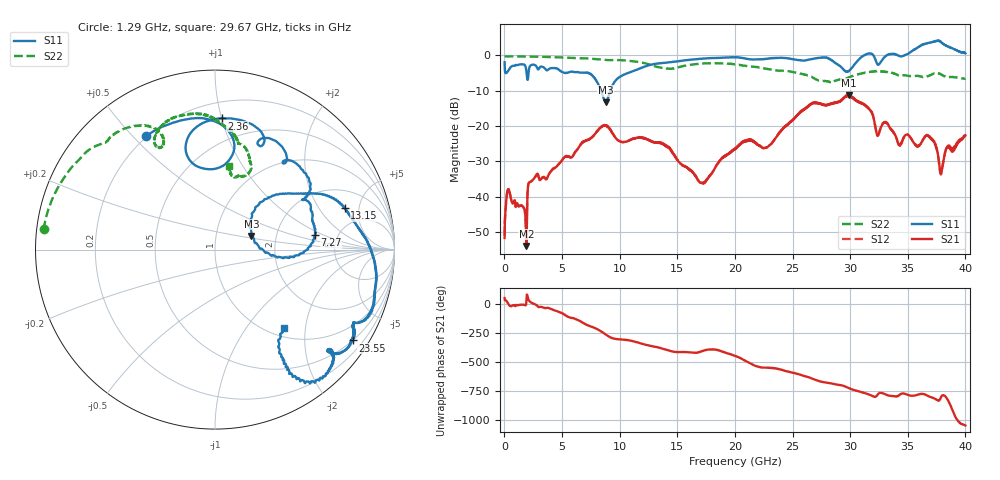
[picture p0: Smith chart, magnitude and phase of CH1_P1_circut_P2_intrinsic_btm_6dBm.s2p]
!Keysight Technologies,N5222B,MY61257109,A.17.25.03
!Date: Wednesday, July 22, 2026 17:31:34
!Correction: S11(C  2-Port  )
!S21(C  2-Port  )
!S12(C  2-Port  )
!S22(C  2-Port  )
!S2P File: Measurements: S11, S21, S12, S22:
# Hz S  dB  R 50
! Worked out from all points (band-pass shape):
!   4000 points, 10 MHz to 40 GHz, reference 50 ohm
!   highest |S21| = -11.29 dB at 29.88 GHz (marker M1); lowest = -53.9 dB at 1.9 GHz (marker M2)
!   |S21| within 3 dB of the highest: 26.38 GHz to 31.37 GHz (4.982 GHz wide, 17.3 % of centre)
!   lowest |S11| = -13.3 dB at 8.8 GHz (marker M3), VSWR 1.55, Z = 74.4 + j11.9 ohm
!   |S11| at or under -10 dB: 8.378 GHz to 9.187 GHz (809 MHz wide, 9.21 % of centre)
!   |S22| runs from -7.6 to -0.3 dB; largest |S21 - S12| = 0.0091
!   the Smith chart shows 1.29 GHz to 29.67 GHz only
!   S11 on the Smith chart (normalised r, x): 1.29 GHz: 0.20, +0.55; 2.36 GHz: 0.32, +1.00; 7.27 GHz: 3.36, +0.78; 13.15 GHz: 3.23, +3.54; 23.55 GHz: 0.50, -3.26; 29.67 GHz: 1.17, -1.53
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1e7  -1.97 -53.1  -51.59 55.2  -50.97 54.3  -0.35 179.8
3.2e8  -4.41 180.0  -37.89 6.1  -37.88 5.7  -0.34 178.4
1.29e9  -2.62 121.3  -42.51 -3.1  -42.50 -3.2  -0.35 173.3
1.9e9  -4.49 79.6  -53.89 31.0  -53.90 50.3  -0.37 170.0
2.36e9  -2.71 87.1  -35.52 13.6  -35.48 13.5  -0.39 167.6
4.44e9  -3.66 38.5  -31.64 -55.0  -31.62 -54.9  -0.57 156.9
6.68e9  -4.95 16.8  -24.96 -152.1  -24.78 -150.9  -0.86 145.7
7.27e9  -5.02 8.1  -23.91 177.0  -23.89 176.9  -0.92 142.6
8.8e9  -13.27 20.6  -19.75 98.9  -19.88 98.3  -1.36 135.8
1.315e10  -2.40 17.9  -24.59 -8.1  -24.66 -8.8  -3.19 115.0
1.334e10  -2.31 16.4  -24.59 -12.0  -24.69 -12.8  -3.34 115.1
1.715e10  -0.96 -5.2  -36.07 -44.9  -35.98 -43.7  -2.35 110.4
2.001e10  -0.60 -21.5  -26.55 -86.9  -26.44 -85.4  -2.58 92.5
2.355e10  -0.74 -33.5  -23.22 166.3  -23.28 165.2  -4.30 77.9
2.667e10  -1.11 -41.9  -13.73 78.4  -13.53 78.7  -6.14 65.8
2.967e10  -4.73 -48.4  -11.35 4.8  -11.62 4.5  -6.49 80.8
2.988e10  -4.53 -40.5  -11.29 -5.1  -11.55 -5.0  -6.22 81.2
3.187e10  0.40 -54.2  -16.12 -70.5  -16.19 -70.2  -4.65 71.8
3.334e10  0.25 -47.2  -19.82 -70.3  -19.87 -69.9  -4.80 60.3
3.61e10  2.71 -56.0  -25.12 -55.5  -25.04 -55.9  -6.00 54.4
3.763e10  4.13 -82.5  -28.34 -111.3  -28.42 -110.0  -5.07 49.3
4e10  0.55 -102.9  -22.61 31.2  -22.44 33.4  -6.56 45.0
